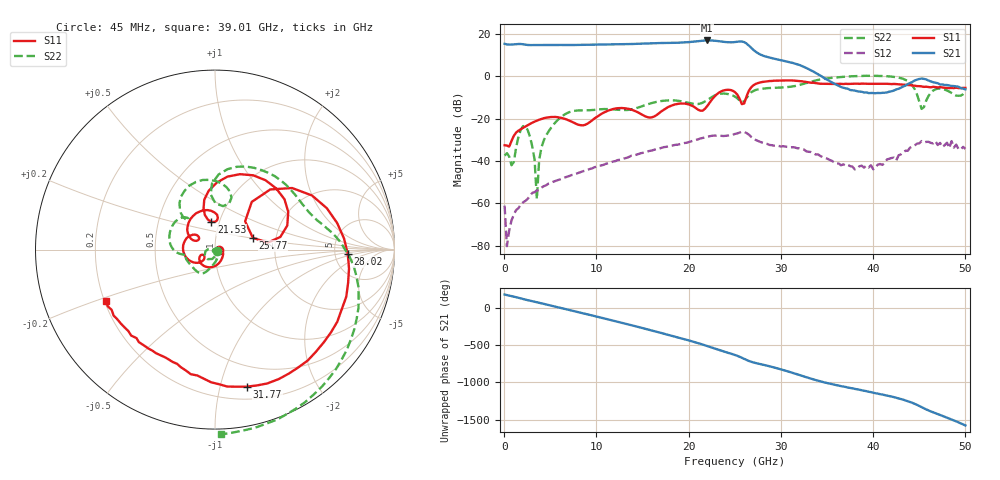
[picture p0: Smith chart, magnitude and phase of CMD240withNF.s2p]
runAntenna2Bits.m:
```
%% Antenna-to-Bits 2026 — IMS Booth Demo (linear, live walkthrough)
clear; clc; close all

scriptDir = fileparts(mfilename("fullpath"));
helpersDir = fullfile(scriptDir, "helpers");
originalFolder = pwd;
folderCleanup = onCleanup(@() cd(originalFolder));
addpath(scriptDir);
addpath(helpersDir);
cd(helpersDir);
%% Initial design 4 elements transmitters
% The first four elements: IF filter+LNA+Tuner+Splitter are representative
% of 1 tile beamformer. This is followed by a PA and the antenna array,
% initially built with 4 dipoles.
%% Global parameters
fIF = 4e9;
fLO = 8e9;
fRF = fIF+fLO;
lambda = physconst("LightSpeed")/fRF;
BW = 100e6;
N = 4;
loadOutWaveforms = true;
%% Stage 1 - IF filter
ifFilter = rffilter("Name","IFfilter", FilterType="InverseChebyshev",...
    ResponseType="Bandpass", FilterOrder=5, ...
    PassbandFrequency=[-BW/2 BW/2]+fIF, PassbandAttenuation=3);
rfplot(ifFilter, linspace(-BW*2+fIF, BW*2+fIF, 101));
ifFilterGP = groupdelay(ifFilter, linspace(-BW*2+fIF, BW*2+fIF, 101));
figure; plot(linspace(-BW*2+fIF, BW*2+fIF, 101),ifFilterGP); title("IF filter group delay");
elements(1) = ifFilter;
%% Stage 2 - LNA
lnaSparamFileName = fullfile(helpersDir, "CMD240withNF.s2p");
lna = amplifier("Name","LNA",...
    Model="sparam",FileName=lnaSparamFileName, ...
    OIP3=28, OP1dB=19, OPsat=22);
rfplot(lna)
figure; rfplot(sparameters(lnaSparamFileName)); title("LNA S-parameters")
elements(2) = lna;
%% Stage 3 - RF Tuner (RF upconverter)
rfTuner = modulator("Name","RFtuner", Model="mod", LO=fLO, ...
    Gain=6, NF=3, OIP3=32);
rfplot(rfTuner)
elements(3) = rfTuner;
%%  Stage 4 - Wilkinson corporate splitter
d = dielectric('Teflon');
w = wilkinsonSplitter('Substrate',d);
w.Height = 0.75e-3;
w.GroundPlaneWidth =0.05;
e = design(w, fRF);
show(e)
splitterCorporate = design(powerDividerCorporate(NumOutputPorts=N,SplitterElement=e), fRF);
splitterCorporate.PortSpacing = 0.018;
splitterCorporate.GroundPlaneWidth = 0.07;
figure; show(splitterCorporate)
figure; layout(splitterCorporate)
figure; mesh(splitterCorporate,'MaxEdgeLength',lambda/10);
load(fullfile(helpersDir, "WilkinsonSplitterData.mat"));
splitterSparam = sparameters(splitterCorporate,[-2*BW 2*BW]+fRF,...
    'SweepOption','interp');
save(fullfile(helpersDir, "WilkinsonSplitterData.mat"), ...
    'splitterCorporate', 'splitterSparam');
figure; rfplot(splitterSparam); title("Wilkinson corporate splitter S-parameters")
figure; hold on; rfplot(splitterSparam,2,1); title("Splitter insertion loss"); 
plot(splitterSparam.Frequencies/1e9,-10*log10(N),'ro-');
splitter = nport("Name","WilkinsonSplitter",...
    NetworkData=sparameters(splitterSparam));
elements(4) = splitter;
%% Stage 5 - Power Amplifier
% Notice the soft compression typical of GaN devices
pa = amplifier("Name","PA",Model="poly", ...
    Gain=25, NF=6, OIP3=45, OP1dB=33, OPsat=37.5);
rfplot(pa);
elements(5) = pa;
%% Stage 6 Antenna - dipole to start with ...
rfAntenna = design(dipole, fRF);
figure; pattern(rfAntenna, fRF);
patternAntenna=pattern(rfAntenna, fRF);
antennaSparam = sparameters(rfAntenna, [-2*BW, 2*BW]+fRF, ...
    'SweepOption', 'interp');
S = sparameters(rfAntenna,fRF);
figure; rfplot(antennaSparam);
budgetAntenna = rfantenna("Gain",pattern(rfAntenna, fRF,0,0),"Z",...
    s2z(S.Parameters));
elements(6) = budgetAntenna;
%% RF Budget analysis in quasi-linear region (only 1 channel)
PinLin = -20;   % design input power [dBm]
Pin = PinLin; 
b = rfbudget(Elements=elements, InputFrequency=fIF, ...
    AvailableInputPower=Pin, SignalBandwidth=BW)
show(b)
%% Compute expected max EIRP for the TX (N elements)
% First we analyze what is the predicted array output (N elements)
% Power and gain *at the PA output port* (index 5), excluding antenna directivity.
% We estimate the antenna array gain, and coherently add the power
PA_idx = 5;
G2PAout = b.TransducerGain(PA_idx);
PAout = b.OutputPower(PA_idx);

antennaArray  = design(linearArray(Element=rfAntenna), fRF, rfAntenna);
antennaArray.NumElements = N;
figure; show(antennaArray)
figure; pattern(antennaArray, fRF);
arrayDirectivity = peakRadiation(antennaArray, fRF);
arraySparam = sparameters(antennaArray, [-2*BW, 2*BW]+fRF, ...
    'SweepOption', 'interp');
figure; rfplot(arraySparam);
maxEIRP = PAout+arrayDirectivity+10*log10(N);
disp(['Pin (linear)= ' num2str(Pin) 'dBm']);
disp(['Expected PA Pout (budget) = ' num2str(PAout), 'dBm'])
disp(['Expected TX EIRP (linear) = ' num2str(maxEIRP), 'dBm'])
%% Let's increase the power
% Compute Linear Range of Operation
Pin_at_P1dB = elements(PA_idx).OP1dB-G2PAout;
b.AvailableInputPower = Pin_at_P1dB;
b.Solver = 'Friis';
PAoutFriis = b.OutputPower(PA_idx);
show(b)
b.AutoUpdate = true;
b.Solver = 'HarmonicBalance';
PAoutHB = b.OutputPower(PA_idx);
disp(['Pin at 1dB compression= ' num2str(Pin_at_P1dB) 'dBm']);
disp(['HB shows that PA is in compression by ' num2str(PAoutFriis-PAoutHB) 'dB']);

% PAPR input signal estimated ~10dB
PinSat = Pin_at_P1dB-10+3; %margin to drive the PA into nonlinear region.
Pin = PinSat;
b.AvailableInputPower = Pin;
disp(['Pin (saturation) = ' num2str(Pin) 'dBm']);

PAoutHB = b.OutputPower(PA_idx);
disp(['Expected PA Pout at saturation (budget) = ' num2str(PAoutHB), 'dBm'])
maxEIRP = PAoutHB+arrayDirectivity+10*log10(N);
disp(['Expected TX EIRP (saturation) = ' num2str(maxEIRP), 'dBm'])
%% Let's increase the array directivity
rfAntenna = design(patchMicrostripCircular, fRF);
rfAntenna.Radius = 7e-3;
figure; pattern(rfAntenna, fRF);
antennaSparam = sparameters(rfAntenna, [-2*BW, 2*BW]+fRF, ...
    'SweepOption', 'interp');
figure; rfplot(antennaSparam);

antennaArray  = linearArray(Element=rfAntenna,...
    ElementSpacing=max(rfAntenna.Radius*2.1,lambda/2),...
    NumElements=N,Tilt=-90);
figure; pattern(antennaArray, fRF);

arrayDirectivity = peakRadiation(antennaArray, fRF);
maxEIRPpatch = PAoutHB+arrayDirectivity+10*log10(N);
arraySparam = sparameters(antennaArray, [-2*BW, 2*BW]+fRF, ...
    'SweepOption', 'interp');
figure; rfplot(arraySparam);

disp(['Pin = ' num2str(Pin) 'dBm']);
disp(['Expected PA Pout (budget) = ' num2str(PAoutHB), 'dBm'])
disp(['Expected TX EIRP with patch array= ' num2str(maxEIRPpatch), 'dBm'])
%% Let's double the array 
N= 8;
antennaArray  = linearArray(Element=rfAntenna,...
    ElementSpacing=max(rfAntenna.Radius*2.1,lambda/2),...
    NumElements=N,Tilt=-90);
figure; pattern(antennaArray, fRF);
arrayDirectivity = peakRadiation(antennaArray, fRF);
maxEIRPpatch8 = PAoutHB+arrayDirectivity+10*log10(N);
disp(['Expected TX EIRP with 8 patch array= ' num2str(maxEIRPpatch8), 'dBm'])
%% Run 5G signal simulation
rc = "NR-FR1-TM3.1"; % Reference channel
bw = "100MHz"; % Channel bandwidth
scs = "30kHz"; % Subcarrier spacing
dm = "FDD"; % Duplexing mode

Tstep = 1/491.52e6;
Tstop = 0.51e-3;

tmwavegen = hNRReferenceWaveformGenerator(rc,bw,scs,dm);
tmwavegen = makeConfigWritable(tmwavegen);
tmwavegen.Config.SampleRate = 1/Tstep;
tmwavegen.Config.NumSubframes = 1;
[inWaveform,tmwaveinfo,resourcesinfo] = generateWaveform(tmwavegen,...
    tmwavegen.Config.NumSubframes);
inWaveform = inWaveform(1:round(Tstop/Tstep));

% Spectrum of 5G signal  
SpectAnalyzer = spectrumAnalyzer;
SpectAnalyzer.SampleRate = 1/Tstep;
SpectAnalyzer.ReferenceLoad = 1;
SpectAnalyzer.RBWSource= "Property";
SpectAnalyzer.RBW = 1e6;
SpectAnalyzer(inWaveform);

PowMet = powermeter("ReferenceLoad",1,"Measurement","All",...
    "WindowLength",length(inWaveform));
[AvgPow, ~,~] = PowMet(inWaveform);
inWaveform = inWaveform.*10^(-AvgPow(end)/20); %scale to 0dBm
release(PowMet);
[~,~,PAPRIn] = PowMet(inWaveform);
disp(['Input signal PAPR = ' num2str(PAPRIn(end)), 'dBm']);

% EVM Measurement
cfg = struct();
cfg.Evm3GPP = false;
cfg.TargetRNTIs = [];
cfg.PlotEVM = true;
cfg.DisplayEVM = false;
cfg.Label = tmwavegen.ConfiguredModel{1};
cfg.UseWholeGrid = true;
cfg.PdcchEnable = false;
% Compute and display EVM measurements
[evmInfo,eqSym,refSym] = hNRDownlinkEVM(...
    tmwavegen.Config,inWaveform,cfg);
disp(['EVM RMS reference input waveform = ' num2str(evmInfo.PDSCH.OverallEVM.RMS*100) '%']);
%% Run Simulation 
%N = 4;
N = 8;
Pin = PinLin;
%Pin = PinSat;
%rfAntenna = dipole;
rfAntenna = patchMicrostripCircular;
if N==4
    load('modelTX.mat');
    if strcmp(class(rfAntenna),'dipole')
        load DipoleArray_N4.mat;
    else
        load PatchArray_N4.mat;
    end
else
    load('modelTX8.mat');
    if strcmp(class(rfAntenna),'dipole')
        load DipoleArray_N8.mat;
    else
        load PatchArray_N8.mat;
    end
end
open_system(RF_TX);
clear outWaveform;
wvName =wvFileName(Pin, rfAntenna, N);
if loadOutWaveforms
    waveformData = load(fullfile(helpersDir, wvName), "outWaveform");
    outWaveform = waveformData.outWaveform;
else
    outWaveform = RF_TX(inWaveform);
    save(fullfile(helpersDir, wvName), "outWaveform");
end

% Spectral measurement, power, and EVM
release(SpectAnalyzer);
SpectAnalyzer(outWaveform);
SpectAnalyzer.ChannelMeasurements.Type="acpr";
SpectAnalyzer.ChannelMeasurements.Span=BW;
SpectAnalyzer.ChannelMeasurements.AdjacentBW=BW;
SpectAnalyzer.ChannelMeasurements.NumOffsets=1;
SpectAnalyzer.ChannelMeasurements.ACPROffsets=BW*1.05;
SpectAnalyzer.ChannelMeasurements.Enabled=true;
tmp = getMeasurementsData(SpectAnalyzer);
ACLR=max(tmp.ChannelMeasurements.ACPRLower,tmp.ChannelMeasurements.ACPRUpper);
disp(['ACLR = ' num2str(ACLR) 'dBc'])
release(PowMet);
[evmInfo,~,~] = hNRDownlinkEVM(...
    tmwavegen.Config,outWaveform,cfg);
disp(['EVM RMS (at Pin=' num2str(Pin) 'dBm) = ' ...
    num2str(evmInfo.PDSCH.OverallEVM.RMS*100) '%']);
% Simulation shows excellent EVM (0.5%), and high linearity (ACPR~-50dBc)
```
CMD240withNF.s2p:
# GHz S RI R 50
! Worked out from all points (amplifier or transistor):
!   201 points, 45 MHz to 50 GHz, reference 50 ohm
!   highest |S21| = 17.0 dB at 22.03 GHz (marker M1)
!   |S21| within 3 dB of that: start of sweep to 26.66 GHz
!   unconditionally stable (mu >= 1): start of sweep to 37.12 GHz; 41.81 GHz to end of sweep
!   at 8.288 GHz: K = 16.05, MAG = 15.0 dB, |S12| = -45.2 dB
!   at 25.02 GHz: K = 1.48, MAG = 17.6 dB, |S12| = -27.2 dB
!   at 50 GHz: K = 30.69, MAG = -3.8 dB, |S12| = -34.3 dB
!   lowest NFmin = 1.80 dB at 8 GHz
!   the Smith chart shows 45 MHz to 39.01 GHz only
!   S11 on the Smith chart (normalised r, x): 45 MHz: 1.05, -0.00; 21.53 GHz: 0.92, +0.29; 25.77 GHz: 1.52, +0.21; 28.02 GHz: 6.62, -0.68; 31.77 GHz: 0.31, -1.21; 39.01 GHz: 0.21, -0.21
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0.045  0.0236 -0.00218  -5.864 0.2441  -0.000436 -0.000772  0.00881 -0.0101
12.53375  -0.1784 0.00687  -5.533 1.44  -0.0103 0.00324  -0.1573 -0.0356
17.77903  -0.1547 0.109  6.16 -0.3081  0.0217 0.00468  -0.2456 0.1137
21.52565  -0.0197 0.1541  -4.766 -5.073  -0.0116 -0.0332  -0.1668 0.1716
22.0252  -0.0565 0.193  -6.303 -3.165  -0.0234 -0.0298  -0.1899 0.2032
25.27227  0.3641 0.0705  1.583 6.379  -0.0118 0.0434  0.0917 0.2888
25.77182  0.2106 0.0661  4.288 5.103  0.00907 0.0486  0.0449 0.242
28.0198  0.7397 -0.0233  2.313 -2.086  0.0268 -0.00388  0.2582 0.443
31.76642  0.1783 -0.7636  -1.903 -0.2775  -0.00638 -0.0191  0.5908 0.146
39.0099  -0.6076 -0.2853  0.3541 -0.2205  0.00578 0.00396  0.0335 -1.03
50  0.0684 0.5299  -0.3644 -0.3338  0.0181 -0.00673  -0.2507 -0.3443
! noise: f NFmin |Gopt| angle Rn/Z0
2  4  0  0  37.5
4  2.9  0  0  23.75
6  2.2  0  0  15
8  1.8  0  0  10
10  2.2  0  0  15
12  2  0  0  12.5
14  2.1  0  0  13.75
16  2.3  0  0  16.25
18  2.4  0  0  17.5
22  3.7  0  0  33.75
